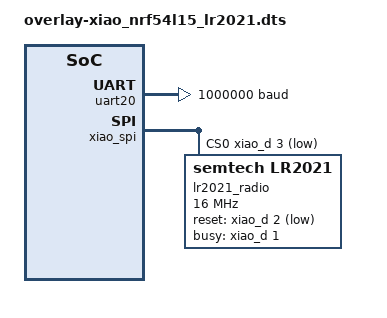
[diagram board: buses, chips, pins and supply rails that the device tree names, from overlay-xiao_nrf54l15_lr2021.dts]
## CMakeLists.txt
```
# ----------------------------------------------------------------------------
# LR2021 USB <-> FLRC bridge firmware - Zephyr application
# ----------------------------------------------------------------------------
cmake_minimum_required(VERSION 3.13.1)

find_package(Zephyr REQUIRED HINTS $ENV{ZEPHYR_BASE})

project(lr2021_flrc_firmware LANGUAGES C)

if(NOT DEFINED ZEPHYR_USP_MODULE_DIR)
    message(FATAL_ERROR
        "ZEPHYR_USP_MODULE_DIR is not defined. The Semtech USP module is missing.")
endif()

zephyr_include_directories(
    ${ZEPHYR_USP_ZEPHYR_CMAKE_DIR}/include/zephyr/usp
)

target_sources(app PRIVATE
    ${CMAKE_CURRENT_SOURCE_DIR}/src/main.c
    ${CMAKE_CURRENT_SOURCE_DIR}/src/flrc_burst_protocol.c
)
```

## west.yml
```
manifest:
  projects:
    - name: zephyr
      url: https://github.com/zephyrproject-rtos/zephyr
      revision: v4.2.0
      import: true

    - name: usp
      path: modules/lib/usp
      url: https://github.com/Lora-net/usp.git
      revision: main
      submodules: true

    - name: usp_zephyr
      path: modules/lib/usp_zephyr
      url: https://github.com/Lora-net/usp_zephyr.git
      revision: main

  self:
    path: application
```

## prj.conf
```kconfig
# ----------------------------------------------------------------------------
# LR2021 USB <-> FLRC bridge firmware - Zephyr project configuration
# ----------------------------------------------------------------------------
# Target board : Seeed XIAO nRF54L15 (xiao_nrf54l15/nrf54l15/cpuapp)
# Radio shield  : Semtech LoRa Plus EVK (Wio-LR2021)
# ----------------------------------------------------------------------------
# Ported to Zephyr v4.3.0 + usp_zephyr v1.1.2-feature-202604. The base
# configuration mirrors the Semtech flrc_burst reference sample; the USB CDC
# ACM, heap, and stack options are specific to this bridge firmware.

# --------------------------- Build / optimization ---------------------------
CONFIG_SPEED_OPTIMIZATIONS=y
CONFIG_SIZE_OPTIMIZATIONS=n

# ---------------------------- General / libc --------------------------------
CONFIG_PICOLIBC_USE_MODULE=n
CONFIG_NEWLIB_LIBC=y
CONFIG_NEWLIB_LIBC_NANO=y
CONFIG_ASSERT=y
CONFIG_TEST_RANDOM_GENERATOR=y

CONFIG_LOG=n
CONFIG_USE_SEGGER_RTT=n

# ---------------------------- Memory / stacks -------------------------------
CONFIG_HEAP_MEM_POOL_SIZE=40960
CONFIG_MAIN_STACK_SIZE=4096
CONFIG_SYSTEM_WORKQUEUE_STACK_SIZE=4096
CONFIG_STACK_SENTINEL=y
CONFIG_THREAD_NAME=y
CONFIG_THREAD_STACK_INFO=y
CONFIG_THREAD_MONITOR=y

# ---------------------------- Hardware buses --------------------------------
CONFIG_SERIAL=y
CONFIG_GPIO=y
CONFIG_SPI=y
CONFIG_PINCTRL=y

# ---------------------------- Serial Communication --------------------------
# The XIAO nRF54L15 has no USB peripheral — its USB-C connector routes through
# an onboard USB-UART bridge to a hardware UART (uart20, the chosen console).
# The host <-> MCU wire protocol is plain UART at 115200 baud, NOT USB CDC ACM.
# The firmware's cdc_dev = DT_CHOSEN(zephyr_console) resolves to &uart20.
CONFIG_CONSOLE=y
CONFIG_UART_CONSOLE=y
CONFIG_UART_INTERRUPT_DRIVEN=y
CONFIG_UART_LINE_CTRL=y
CONFIG_SERIAL=y

# ---------------------------- Transceiver driver ----------------------------
CONFIG_LORA_BASICS_MODEM_DRIVERS=y
# Use the no-thread trigger (matches the Semtech flrc_burst reference sample
# on usp_zephyr v1.1.2-feature-202604). The radio callback runs in the context
# of whoever calls smtc_rac_run_engine() (the main superloop here).
CONFIG_LORA_BASICS_MODEM_DRIVERS_EVENT_TRIGGER_GLOBAL_THREAD=n
CONFIG_LORA_BASICS_MODEM_DRIVERS_EVENT_TRIGGER_NO_THREAD=y
CONFIG_LR20XX_HAL_SPI_BUFFER_MAX_LENGTH=520
CONFIG_SEMTECH_LR20XX=y
CONFIG_LORA_BASICS_MODEM_DRIVERS_RAL_RALF=y

# ---------------------------- USP / RAC -------------------------------------
CONFIG_USP=y
CONFIG_USP_MAIN_THREAD=n

# ---------------------------- Optional / debug ------------------------------
CONFIG_WATCHDOG=n
CONFIG_PM_DEVICE=y
CONFIG_FLASH=y
```

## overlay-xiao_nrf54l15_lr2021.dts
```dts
/*
 * Device tree overlay for the Semtech LR2021 LoRa Plus Evaluation Kit.
 *
 * Hardware:
 *   MCU     : Seeed XIAO nRF54L15   (xiao_nrf54l15_nrf54l15_cpuapp)
 *   Radio   : Semtech Wio-LR2021 (LR20xx family) on the LoRa Plus expansion
 *
 * Apply with:
 *   west build -b xiao_nrf54l15/nrf54l15/cpuapp -- \
 *       -DDTC_OVERLAY_FILE=$(pwd)/overlay-xiao_nrf54l15_lr2021.dts
 */

#include <zephyr/dt-bindings/usp/lr20xx.h>

/ {
    chosen {
        /* USP RAC binds the LR2021 through this chosen node. */
        zephyr,lorawan-transceiver = &lr2021_radio;
    };

    aliases {
        lora-transceiver = &lr2021_radio;
    };
};

/* Override UART speed: 921600 baud reduces a 877B frame transfer from
 * ~77ms to ~19ms, shrinking the window for ring buffer races and
 * reducing RAC engine starvation during USB drains. */
&uart20 {
    current-speed = <1000000>;
};

/* ---- Enable the Xiao SPI bus that talks to the LR2021 ------------------- */
&xiao_spi {
    status = "okay";
    /* When MOSI is unused (RX-only) keep it driven; prevents floating input. */
    overrun-character = <0>;
    /* Single chip-select on Xiao D3, active low. */
    cs-gpios = <&xiao_d 3 GPIO_ACTIVE_LOW>;

    lr2021_radio: lora@0 {
        compatible = "semtech,lr2021";
        reg = <0>;
        spi-max-frequency = <DT_FREQ_M(16)>;

        /* Board-specific calibration offset (0 = use factory defaults). */
        tx-power-offset = <0>;
        /* Maximum RX boost (0..7). */
        rx-boost-cfg = <7>;

        /* ---- GPIO control lines ---- */
        /* NRX / hardware reset : Xiao D2, active low. */
        reset-gpios = <&xiao_d 2 GPIO_ACTIVE_LOW>;
        /* BUSY signal          : Xiao D1, active high, pulled up. */
        busy-gpios = <&xiao_d 1 (GPIO_ACTIVE_HIGH | GPIO_PULL_UP)>;

        /* ---- Power supply & clocking ---- */
        reg-mode = <LR20XX_REG_MODE_DCDC>;
        lf-clk   = <LR20XX_SYSTEM_LFCLK_RC>;
        tcxo-voltage = <LR20XX_SYSTEM_TCXO_CTRL_1_8V>;
        tcxo-wakeup-time = <0>;

        /*
         * TX power configuration table (sub-GHz / LF path), measured by
         * Semtech at 902 MHz on the Wio-LR2021. Each row is:
         *   <chip_half_pwr_cfg  pa_lf_duty_cycle  pa_lf_slices>
         */
        tx-power-cfg-lf =
            <(-18) 0x03 0x06>,
            <(-13) 0x02 0x05>,
            <(-13) 0x06 0x01>,
            <( -6) 0x06 0x00>,
            <(  4) 0x01 0x00>,
            <(  4) 0x02 0x00>,
            <(  2) 0x01 0x03>,
            <( 14) 0x00 0x00>,
            <(  9) 0x00 0x03>,
            <( 11) 0x03 0x00>,
            <( 16) 0x01 0x00>,
            <( 11) 0x07 0x00>,
            <( 18) 0x02 0x00>,
            <( 16) 0x05 0x00>,
            <( 17) 0x07 0x00>,
            <( 21) 0x01 0x02>,
            <( 25) 0x03 0x00>,
            <( 32) 0x00 0x01>,
            <( 32) 0x02 0x00>,
            <( 27) 0x03 0x01>,
            <( 32) 0x02 0x01>,
            <( 28) 0x05 0x01>,
            <( 30) 0x05 0x01>,
            <( 34) 0x04 0x01>,
            <( 31) 0x05 0x04>,
            <( 34) 0x04 0x04>,
            <( 34) 0x05 0x06>,
            <( 39) 0x03 0x05>,
            <( 37) 0x06 0x06>,
            <( 40) 0x05 0x05>,
            <( 41) 0x07 0x04>,
            <( 43) 0x07 0x04>,
            <( 44) 0x07 0x07>;

        /* Image-rejection calibration reference frequencies (Hz). */
        calibration-freqs = <
            870000000
            920000000
            2441000000
        >;

        /* Required TX/RX current tables from the official Wio-LR2021 shield DTSI. */
        tx-power-cfg-hf =
            <(-39) 29   0x07>,
            <(-39) 16   0x07>,
            <(-35) 19   0x07>,
            <(-32) 19   0x07>,
            <(-29) 19   0x07>,
            <(-27) 16   0x07>,
            <(-24) 17   0x07>,
            <(-22) 16   0x07>,
            <(-19) 18   0x07>,
            <(-17) 16   0x07>,
            <(-14) 21   0x07>,
            <(-12) 18   0x07>,
            <( -7) 30   0x07>,
            <( -8) 16   0x07>,
            <( -5) 24   0x07>,
            <( -2) 27   0x07>,
            <(  1) 29   0x07>,
            <(  4) 30   0x07>,
            <(  6) 30   0x07>,
            <(  7) 28   0x07>,
            <(  8) 25   0x07>,
            <( 10) 25   0x07>,
            <( 15) 31   0x07>,
            <( 16) 30   0x07>,
            <( 18) 30   0x07>,
            <( 21) 31   0x07>,
            <( 22) 30   0x07>,
            <( 24) 30   0x07>,
            <( 24) 26   0x07>,
            <( 24) 16   0x07>;

        tx-dbm-to-ua-reg-mode-dcdc-lf-vreg = <
            10400 10100 9000 9000 8400 8700 10100 9200 10600 10000 10000 12100 10900 12000
            13100 13300 13400 14600 15300 16800 18100 20200 21900 25600 28300 32200 37600
            46000 51800 61300 74100 89400 108200
        >;

        tx-dbm-to-ua-reg-mode-ldo-lf-vreg = <
            1000 1000 1000 1000 1000 1000 1000 1000 1000 1000 1000 1000 1000 1000
            1000 1000 1000 1000 1000 1000 1000 1000 1000 1000 1000 1000 1000 1000
            1000 1000 1000 1000 1000
        >;

        tx-dbm-to-ua-reg-mode-dcdc-hf-vreg = <
            8625 8783 8874 8998 9145 9289 9481 9646 9840 10073 10280 10597 10511 11200
            11391 11630 11360 11635 11986 12670 13292 13859 13685 14629 15388 15804
            17270 18943 21041 22524
        >;

        rx-bw-to-ua-reg-mode-dcdc-lf-vreg = < 5700 5790 6320 6140 6840 6600 >;
        rx-bw-to-ua-reg-mode-dcdc-hf-vreg = < 6400 6510 7040 6860 6880 7350 >;
        rx-bw-to-ua-reg-mode-dcdc-lf-vreg-boosted = < 6920 6990 7530 7370 8160 7820 >;
        rx-bw-to-ua-reg-mode-dcdc-hf-vreg-boosted = < 6740 6850 7130 7180 8010 7690 >;
        rx-bw-to-ua-reg-mode-ldo-lf-vreg = < 9420 9580 10580 10240 11770 11130 >;
        rx-bw-to-ua-reg-mode-ldo-hf-vreg = < 10760 10890 11870 11640 13130 12500 >;
        rx-bw-to-ua-reg-mode-ldo-lf-vreg-boosted = < 11670 11710 12880 12560 14090 13500 >;
        rx-bw-to-ua-reg-mode-ldo-hf-vreg-boosted = < 11410 11570 12590 12280 13720 13180 >;

        /*
         * DIO mapping for Wio-LR2021 shield:
         * DIO 5: RF switch control (LF RX/TX & HF RX/TX)
         * DIO 6: RF switch control (LF RX/TX & HF RX/TX)
         * DIO 8 (DIO1): Radio IRQ -> Xiao D0
         */
        dios {
            compatible = "semtech,lr20xx-dios";
            #address-cells = <1>;
            #size-cells = <0>;

            dio@5 {
                reg = <5>;
                function = <LR20XX_SYSTEM_DIO_FUNC_RF_SWITCH>;
                sleep-drive = <LR20XX_SYSTEM_DIO_DRIVE_PULL_UP>;
                rf-sw = <(
                    LR20XX_DIO_RF_SWITCH_WHEN_LF_RX | LR20XX_DIO_RF_SWITCH_WHEN_LF_TX |
                    LR20XX_DIO_RF_SWITCH_WHEN_HF_RX | LR20XX_DIO_RF_SWITCH_WHEN_HF_TX
                )>;
            };

            dio@6 {
                reg = <6>;
                function = <LR20XX_SYSTEM_DIO_FUNC_RF_SWITCH>;
                sleep-drive = <LR20XX_SYSTEM_DIO_DRIVE_AUTO>;
                rf-sw = <(
                    LR20XX_DIO_RF_SWITCH_WHEN_LF_RX | LR20XX_DIO_RF_SWITCH_WHEN_LF_TX |
                    LR20XX_DIO_RF_SWITCH_WHEN_HF_RX | LR20XX_DIO_RF_SWITCH_WHEN_HF_TX
                )>;
            };

            dio@8 {
                reg = <8>;
                function = <LR20XX_SYSTEM_DIO_FUNC_IRQ>;
                dio-gpios = <&xiao_d 0 (GPIO_ACTIVE_HIGH | GPIO_PULL_DOWN)>;
                irq-mask = <LR20XX_SYSTEM_IRQ_ALL_MASK>;
            };
        };
    };
};

/* ---- Free unused peripherals ---- */
&i2c22 { status = "disabled"; };
&i2c30 { status = "disabled"; };
&adc   { status = "disabled"; };
```

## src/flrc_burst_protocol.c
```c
/**
 * @file      flrc_burst_protocol.c
 *
 * @brief     CRC32 utility implementation.
 *
 * SPDX-License-Identifier: Apache-2.0
 */

#include "flrc_burst_protocol.h"

uint32_t flrc_burst_calc_crc32(const uint8_t *data, size_t len)
{
    uint32_t crc = 0xFFFFFFFFU;
    if (data == NULL || len == 0) return 0;

    for (size_t i = 0; i < len; i++) {
        crc ^= data[i];
        for (int j = 0; j < 8; j++) {
            if (crc & 1U) {
                crc = (crc >> 1) ^ 0xEDB88320U;
            } else {
                crc >>= 1;
            }
        }
    }
    return ~crc;
}
```

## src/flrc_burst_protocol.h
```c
/**
 * @file      flrc_burst_protocol.h
 *
 * @brief     CRC32 utility for hardware FLRC burst mode.
 *
 * SPDX-License-Identifier: Apache-2.0
 */

#ifndef FLRC_BURST_PROTOCOL_H
#define FLRC_BURST_PROTOCOL_H

#include <stdint.h>
#include <stddef.h>

#ifdef __cplusplus
extern "C" {
#endif

/**
 * @brief Calculate IEEE 802.3 CRC32 checksum over a byte buffer.
 */
uint32_t flrc_burst_calc_crc32(const uint8_t *data, size_t len);

#ifdef __cplusplus
}
#endif

#endif /* FLRC_BURST_PROTOCOL_H */
```

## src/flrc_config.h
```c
/**
 * @file      flrc_config.h
 *
 * @brief     Configuration constants for LR2021 FLRC hardware-burst bridge.
 *
 * SPDX-License-Identifier: Apache-2.0
 */

#ifndef FLRC_CONFIG_H
#define FLRC_CONFIG_H

#include <stdint.h>

/* Default Radio Settings — must match the host's config.json so the radio
 * is on the correct frequency/sync BEFORE the CONFIG command arrives. */
#define FLRC_DEFAULT_FREQ_HZ       915000000U  /* 915 MHz US915 Sub-GHz */
#define FLRC_DEFAULT_CODING_RATE   2           /* CR_3_4 (host coding_rate=2) */
#define FLRC_DEFAULT_TX_PWR_DBM    20          /* 20 dBm */
#define FLRC_DEFAULT_SYNC_WORD     0x534C2021U /* matches host sync 0x534C2021 */

/* Maximum application payload and on-air packet sizing.
 * Capped at the RX reassembly size (BURST_REASM_PAYLOAD_MAX): the largest
 * frame any peer can accept is 12,288B, so a bigger TX payload only wasted
 * RAM (g_pending/queue buffer + air-packet staging). */
#define FLRC_BURST_MAX_TOTAL_PAYLOAD 12288
#define FLRC_BURST_PKT_PAYLOAD       252
#define FLRC_BURST_HEADER_MAGIC      0x4642 /* 'FB' */

/* Host Protocol Messages */
#define FLRC_MSG_READY      'G'
#define FLRC_MSG_TX         'T'
#define FLRC_MSG_RX         'R'
#define FLRC_MSG_CONFIG     'C'
#define FLRC_MSG_SET_WINDOW 'W'
#define FLRC_MSG_STATS      'S'
#define FLRC_MSG_TIME       'M'
#define FLRC_MSG_ERROR      'E'
#define FLRC_MSG_RESET      'X'  /* Host-requested system reboot */

/* Error codes */
#define FLRC_ERR_RADIO_INIT       0x01
#define FLRC_ERR_PAYLOAD_TOO_BIG  0x02
#define FLRC_ERR_BAD_CONFIG       0x03

#define FLRC_CONFIG_BODY_LEN      15  /* freq(4)+bw(4)+cr(1)+txpwr(1)+sync(4)+role(1) */

/* Radio role (byte 14 of CONFIG body) */
#define FLRC_ROLE_BOTH      0   /* TX + RX — single-radio mode (default) */
#define FLRC_ROLE_TX_ONLY   1   /* TX only — skips reader task / RX */
#define FLRC_ROLE_RX_ONLY   2   /* RX only — skips discovery TX / outbound TX */

/* On-air packet header (16 bytes) */
typedef struct __attribute__((packed)) {
    uint16_t magic;             /* Magic 'FB' */
    uint16_t burst_id;          /* Incrementing burst ID */
    uint16_t packet_idx;        /* 0-indexed packet sequence number */
    uint16_t total_packets;     /* Total number of packets in this burst */
    uint32_t total_payload_len; /* Total burst application payload length */
    uint32_t payload_crc32;     /* Full payload CRC32 checksum */
} flrc_packet_header_t;

#define FLRC_MAX_PACKET_CHUNK_SIZE (FLRC_BURST_PKT_PAYLOAD - sizeof(flrc_packet_header_t))

#endif /* FLRC_CONFIG_H */
```
